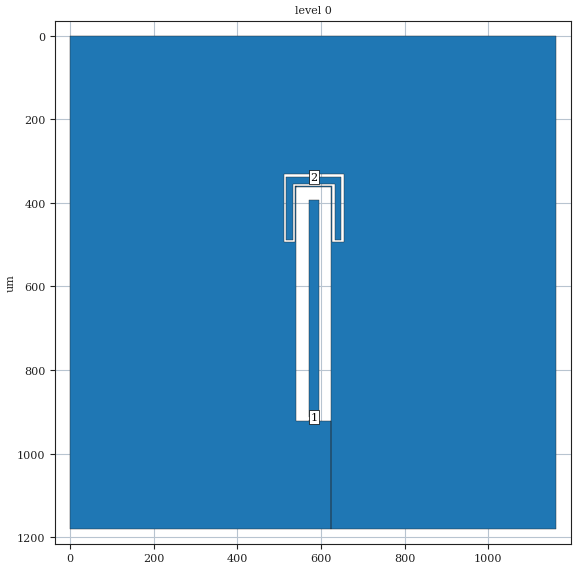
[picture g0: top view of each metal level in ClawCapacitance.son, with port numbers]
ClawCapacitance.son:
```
FTYP SONPROJ 15 ! Sonnet Project File
VER 16.52
HEADER
LIC calt2.2.43068 b6ae2bd1257f DESKTOP-SL82IK9 Michael
DAT 07/15/2016 11:30:03
BUILT_BY_CREATED xgeom 16.52 04/11/2016 14:48:12
BUILT_BY_SAVED xgeom 16.52
MDATE 07/14/2016 19:09:44
HDATE 07/14/2016 19:09:44
END HEADER
DIM
FREQ GHZ
IND NH
LNG UM
ANG DEG
CON /OH
CAP PF
RES OH
END DIM
FREQ
ABS 5.0 26.0 
STEP 0.1
END FREQ
CONTROL
VARSWP
OPTIONS  -d 
SPEED 0
CACHE_ABS 1
TARG_ABS 300
Q_ACC N
END CONTROL
GEO
DRP1 RIGHT FIX 100
TMET "Lossless" 0 SUP 0 0 0 0
BMET "Lossless" 0 SUP 0 0 0 0
BOX 1 1162 1180 2324 2360 20 0
      1000 1 1 0 0 0 0 "Unnamed"
      500 11.9 1 5e-006 0 0 0 "Silicon (intrinsic)"
VALVAR gap LNG 6 "Dim. Param."
VALVAR ClawLength NONE 134 "Dim. Param."
VALVAR thickness NONE 16 "Dim. Param."
LORGN 0 1180 U 
POR1 AGND
POLY 10 1
12
1 50 0 0 0 583 912 NONE 
POR1 AGND
POLY 14 1
0
2 50 0 0 0 583 338 NONE 
NUM 3
0 17 -1 N 10 1 1 100 100 0 0 0 Y
592 914
590 914
590 912
595 912
595 392
571 392
571 912
576 912
576 914
574 914
574 916
578 916
578 912
588 912
588 916
592 916
592 914
END
0 35 -1 N 13 1 1 100 100 0 0 0 Y
1163 0
0 0
0 1180
625 1180
625 923
594 923
594 919
590 919
590 921
592 921
592 923
574 923
574 921
576 921
576 919
572 919
572 923
541 923
541 362
541 360
539 360
539 494
511 494
511 332
655 332
655 494
627 494
627 360
541 360
541 362
625 362
625 923
625 1180
1163 1180
1163 0
END
0 9 -1 N 14 1 1 100 100 0 0 0 Y
649 338
517 338
517 488
533 488
533 354
633 354
633 488
649 488
649 338
END
END GEO
OPT
MAX 100
VARS
VAR gap N UNDEF UNDEF UNDEF
VAR ClawLength N UNDEF UNDEF UNDEF
VAR thickness N UNDEF UNDEF UNDEF
END
END OPT
VARSWP
STEP 0.1
VAR gap N 6.0 6.0 UNDEF
VAR ClawLength Y 120.0 200.0 40.0
VAR thickness Y 28.0 32.0 4.0
END
END VARSWP
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```
